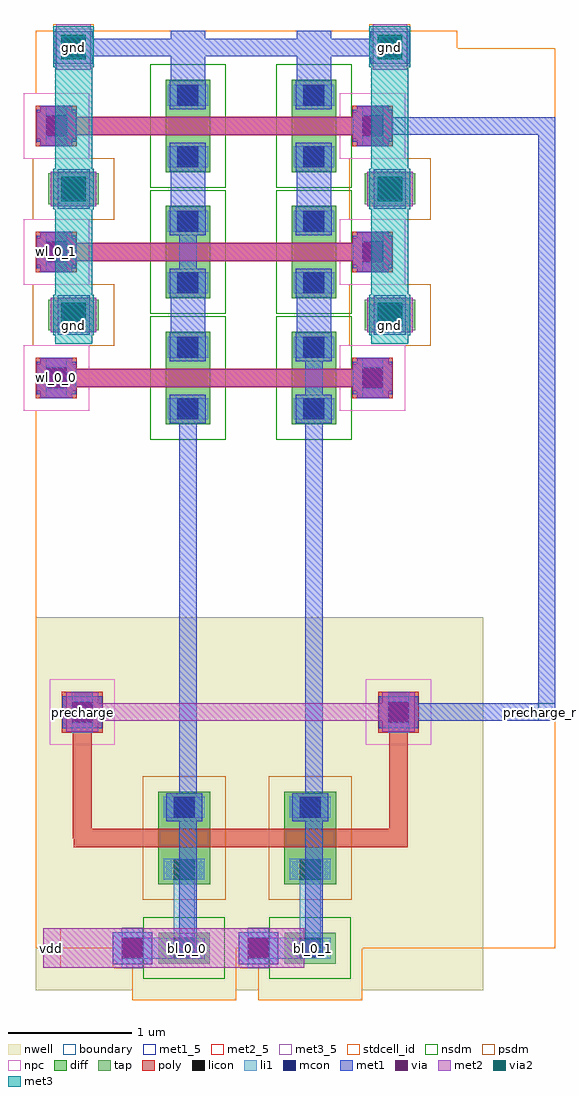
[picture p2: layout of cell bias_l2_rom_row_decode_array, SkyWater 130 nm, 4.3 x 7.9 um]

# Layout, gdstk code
from math import pi, radians
import gdstk
lib = gdstk.Library(unit=1e-6, precision=1e-09)
def R(c, l, rs):  # rectangles x0, y0, x1, y1
    for r in rs: c.add(gdstk.rectangle(r[:2], r[2:], *l))
def A(c, l, x, y, w, h, nx, ny, dx, dy):  # array of equal rectangles
    R(c, l, [(x+i*dx, y+j*dy, x+i*dx+w, y+j*dy+h) for i in range(nx) for j in range(ny)])
nwell = (64, 20)
diff = (65, 20)
tap = (65, 44)
poly = (66, 20)
licon = (66, 44)
li1 = (67, 20)
mcon = (67, 44)
met1_5 = (68, 5)
met1 = (68, 20)
via = (68, 44)
met2_5 = (69, 5)
met2 = (69, 20)
via2 = (69, 44)
met3_5 = (70, 5)
met3 = (70, 20)
stdcell_id = (81, 4)
nsdm = (93, 44)
psdm = (94, 20)
npc = (95, 20)
boundary = (235, 4)

bias_l2_contact_11 = lib.new_cell('bias_l2_contact_11')
R(bias_l2_contact_11, poly, [(0,0,0.33,0.33)])
R(bias_l2_contact_11, licon, [(0.08,0.08,0.25,0.25)])
R(bias_l2_contact_11, li1, [(0.08,0,0.25,0.33)])
R(bias_l2_contact_11, stdcell_id, [(-0.1,-0.1,0.43,0.43)])
R(bias_l2_contact_11, npc, [(-0.1,-0.1,0.43,0.43)])
R(bias_l2_contact_11, boundary, [(-0.1,-0.1,0.43,0.43)])

bias_l2_contact_12 = lib.new_cell('bias_l2_contact_12')
R(bias_l2_contact_12, li1, [(0.06,0,0.23,0.33)])
R(bias_l2_contact_12, mcon, [(0.06,0.08,0.23,0.25)])
R(bias_l2_contact_12, met1, [(0,0.05,0.29,0.28)])
R(bias_l2_contact_12, stdcell_id, [(0,0,0.29,0.33)])
R(bias_l2_contact_12, boundary, [(0,0,0.29,0.33)])

bias_l2_contact_13 = lib.new_cell('bias_l2_contact_13')
R(bias_l2_contact_13, met1, [(0,0.03,0.32,0.29)])
R(bias_l2_contact_13, via, [(0.085,0.085,0.235,0.235)])
R(bias_l2_contact_13, met2, [(0.03,0,0.29,0.32)])
R(bias_l2_contact_13, stdcell_id, [(0,0,0.32,0.32)])
R(bias_l2_contact_13, boundary, [(0,0,0.32,0.32)])

bias_l2_contact_16 = lib.new_cell('bias_l2_contact_16')
R(bias_l2_contact_16, tap, [(0,0,0.41,0.25)])
R(bias_l2_contact_16, licon, [(0.12,0.04,0.29,0.21)])
R(bias_l2_contact_16, li1, [(0.04,0.04,0.37,0.21)])
R(bias_l2_contact_16, stdcell_id, [(-0.125,-0.125,0.535,0.375)])
R(bias_l2_contact_16, psdm, [(-0.125,-0.125,0.535,0.375)])
R(bias_l2_contact_16, boundary, [(-0.125,-0.125,0.535,0.375)])

bias_l2_rom_poly_tap_1 = lib.new_cell('bias_l2_rom_poly_tap_1')
R(bias_l2_rom_poly_tap_1, li1, [(0.22,0.675,0.39,0.845)])
R(bias_l2_rom_poly_tap_1, met1, [(0.005,0.12,0.325,0.38)])
R(bias_l2_rom_poly_tap_1, met2_5, [(0.095,0.18,0.235,0.32)])
R(bias_l2_rom_poly_tap_1, met2, [(0.095,0.18,0.235,0.32)])
R(bias_l2_rom_poly_tap_1, stdcell_id, [(0,0,0.85,1.02)])
R(bias_l2_rom_poly_tap_1, boundary, [(0,0,0.85,1.02)])
bias_l2_rom_poly_tap_1.add(gdstk.Reference(bias_l2_contact_11, (0,0.085)))
bias_l2_rom_poly_tap_1.add(gdstk.Reference(bias_l2_contact_12, (0.02,0.085)))
bias_l2_rom_poly_tap_1.add(gdstk.Reference(bias_l2_contact_13, (0.005,0.09)))
bias_l2_rom_poly_tap_1.add(gdstk.Reference(bias_l2_contact_16, (0.1,0.635)))
bias_l2_rom_poly_tap_1.add(gdstk.Label('poly_tap', (0.165,0.25), layer=69, texttype=5))
bias_l2_rom_poly_tap_1.add(gdstk.Label('active_tap', (0.305,0.76), layer=67, texttype=5))

bias_l2_contact_8 = lib.new_cell('bias_l2_contact_8')
R(bias_l2_contact_8, diff, [(0,0.02,0.25,0.31)])
R(bias_l2_contact_8, licon, [(0.04,0.08,0.21,0.25)])
R(bias_l2_contact_8, li1, [(0.04,0,0.21,0.33)])
R(bias_l2_contact_8, stdcell_id, [(-0.125,-0.105,0.375,0.435)])
R(bias_l2_contact_8, nsdm, [(-0.125,-0.105,0.375,0.435)])
R(bias_l2_contact_8, boundary, [(-0.125,-0.105,0.375,0.435)])

bias_l2_contact_9 = lib.new_cell('bias_l2_contact_9')
R(bias_l2_contact_9, li1, [(0.03,0,0.2,0.33)])
R(bias_l2_contact_9, mcon, [(0.03,0.08,0.2,0.25)])
R(bias_l2_contact_9, met1, [(0,0.02,0.23,0.31)])
R(bias_l2_contact_9, stdcell_id, [(-0.095,-0.125,0.325,0.455)])
R(bias_l2_contact_9, nsdm, [(-0.095,-0.125,0.325,0.455)])
R(bias_l2_contact_9, boundary, [(-0.095,-0.125,0.325,0.455)])

bias_l2_nmos_m1_w0_360_s = lib.new_cell('bias_l2_nmos_m1_w0_360_sm1_dm1')
R(bias_l2_nmos_m1_w0_360_s, diff, [(0,0,0.75,0.36)])
R(bias_l2_nmos_m1_w0_360_s, poly, [(0.3,-0.13,0.45,0.49), (0.3,-0.13,0.45,0.49)])
R(bias_l2_nmos_m1_w0_360_s, met1_5, [(0.01,0.035,0.24,0.325), (0.51,0.035,0.74,0.325)])
R(bias_l2_nmos_m1_w0_360_s, met1, [(0.01,0.035,0.24,0.325), (0.51,0.035,0.74,0.325)])
R(bias_l2_nmos_m1_w0_360_s, stdcell_id, [(-0.125,-0.13,0.875,0.49)])
R(bias_l2_nmos_m1_w0_360_s, nsdm, [(-0.125,-0.125,0.875,0.485)])
R(bias_l2_nmos_m1_w0_360_s, boundary, [(-0.125,-0.13,0.875,0.49)])
bias_l2_nmos_m1_w0_360_s.add(gdstk.Reference(bias_l2_contact_8, (0,0.015)))
bias_l2_nmos_m1_w0_360_s.add(gdstk.Reference(bias_l2_contact_9, (0.01,0.015)))
bias_l2_nmos_m1_w0_360_s.add(gdstk.Reference(bias_l2_contact_8, (0.5,0.015)))
bias_l2_nmos_m1_w0_360_s.add(gdstk.Reference(bias_l2_contact_9, (0.51,0.015)))
bias_l2_nmos_m1_w0_360_s.add(gdstk.Label('G', (0.375,0.18), layer=66, texttype=5))
bias_l2_nmos_m1_w0_360_s.add(gdstk.Label('S', (0.125,0.18), layer=68, texttype=5))
bias_l2_nmos_m1_w0_360_s.add(gdstk.Label('D', (0.625,0.18), layer=68, texttype=5))

bias_l2_rom_base_one_cel = lib.new_cell('bias_l2_rom_base_one_cell')
R(bias_l2_rom_base_one_cel, poly, [(0,0.175,0.4,0.325), (0.4,0.175,1.02,0.325)])
R(bias_l2_rom_base_one_cel, met1_5, [(0.565,-0.115,0.855,0.115), (0.565,0.385,0.855,0.615)])
R(bias_l2_rom_base_one_cel, met1, [(0.565,-0.115,0.855,0.115), (0.565,0.385,0.855,0.615), (0.57,0.5,0.85,1.02)])
R(bias_l2_rom_base_one_cel, stdcell_id, [(0,0,1.02,1.02)])
R(bias_l2_rom_base_one_cel, boundary, [(0,0,1.02,1.02)])
bias_l2_rom_base_one_cel.add(gdstk.Reference(bias_l2_nmos_m1_w0_360_s, (0.89,-0.125), rotation=pi/2))
bias_l2_rom_base_one_cel.add(gdstk.Label('S', (0.71,0), layer=68, texttype=5))
bias_l2_rom_base_one_cel.add(gdstk.Label('D', (0.71,0.5), layer=68, texttype=5))
bias_l2_rom_base_one_cel.add(gdstk.Label('G', (0.71,0.25), layer=66, texttype=5))

bias_l2_rom_base_zero_ce = lib.new_cell('bias_l2_rom_base_zero_cell')
R(bias_l2_rom_base_zero_ce, poly, [(0,0.175,0.4,0.325), (0.4,0.175,1.02,0.325)])
R(bias_l2_rom_base_zero_ce, met1_5, [(0.565,-0.115,0.855,0.115), (0.565,0.385,0.855,0.615)])
R(bias_l2_rom_base_zero_ce, met1, [(0.565,-0.115,0.855,0.115), (0.64,0,0.78,0.5), (0.565,0.385,0.855,0.615), (0.57,0.5,0.85,1.02)])
R(bias_l2_rom_base_zero_ce, stdcell_id, [(0,0,1.02,1.02)])
R(bias_l2_rom_base_zero_ce, boundary, [(0,0,1.02,1.02)])
bias_l2_rom_base_zero_ce.add(gdstk.Reference(bias_l2_nmos_m1_w0_360_s, (0.89,-0.125), rotation=pi/2))
bias_l2_rom_base_zero_ce.add(gdstk.Label('S', (0.71,0), layer=68, texttype=5))
bias_l2_rom_base_zero_ce.add(gdstk.Label('D', (0.71,0.5), layer=68, texttype=5))
bias_l2_rom_base_zero_ce.add(gdstk.Label('G', (0.71,0.25), layer=66, texttype=5))

bias_l2_rom_poly_tap_2 = lib.new_cell('bias_l2_rom_poly_tap_2')
R(bias_l2_rom_poly_tap_2, met1, [(0.005,0.12,0.325,0.38)])
R(bias_l2_rom_poly_tap_2, met2_5, [(0.095,0.18,0.235,0.32)])
R(bias_l2_rom_poly_tap_2, met2, [(0.095,0.18,0.235,0.32)])
R(bias_l2_rom_poly_tap_2, stdcell_id, [(0,0,0.85,1.02)])
R(bias_l2_rom_poly_tap_2, boundary, [(0,0,0.85,1.02)])
bias_l2_rom_poly_tap_2.add(gdstk.Reference(bias_l2_contact_11, (0,0.085)))
bias_l2_rom_poly_tap_2.add(gdstk.Reference(bias_l2_contact_12, (0.02,0.085)))
bias_l2_rom_poly_tap_2.add(gdstk.Reference(bias_l2_contact_13, (0.005,0.09)))
bias_l2_rom_poly_tap_2.add(gdstk.Label('poly_tap', (0.165,0.25), layer=69, texttype=5))

bias_l2_rom_poly_tap_3 = lib.new_cell('bias_l2_rom_poly_tap_3')
R(bias_l2_rom_poly_tap_3, met1, [(0.005,0.12,0.325,0.38)])
R(bias_l2_rom_poly_tap_3, met2_5, [(0.095,0.18,0.235,0.32)])
R(bias_l2_rom_poly_tap_3, met2, [(0.095,0.18,0.235,0.32)])
R(bias_l2_rom_poly_tap_3, stdcell_id, [(0,0,0.85,1.02)])
R(bias_l2_rom_poly_tap_3, boundary, [(0,0,0.85,1.02)])
bias_l2_rom_poly_tap_3.add(gdstk.Reference(bias_l2_contact_11, (0,0.085)))
bias_l2_rom_poly_tap_3.add(gdstk.Reference(bias_l2_contact_12, (0.02,0.085)))
bias_l2_rom_poly_tap_3.add(gdstk.Reference(bias_l2_contact_13, (0.005,0.09)))
bias_l2_rom_poly_tap_3.add(gdstk.Label('poly_tap', (0.165,0.25), layer=69, texttype=5))

bias_l2_contact_10 = lib.new_cell('bias_l2_contact_10')
R(bias_l2_contact_10, nwell, [(-0.295,-0.255,0.545,0.585)])
R(bias_l2_contact_10, diff, [(0,0.02,0.25,0.31)])
R(bias_l2_contact_10, licon, [(0.04,0.08,0.21,0.25)])
R(bias_l2_contact_10, li1, [(0.04,0,0.21,0.33)])
R(bias_l2_contact_10, stdcell_id, [(-0.295,-0.255,0.545,0.585)])
R(bias_l2_contact_10, psdm, [(-0.125,-0.105,0.375,0.435)])
R(bias_l2_contact_10, boundary, [(-0.295,-0.255,0.545,0.585)])

bias_l2_contact_14 = lib.new_cell('bias_l2_contact_14')
R(bias_l2_contact_14, nwell, [(-0.305,-0.255,0.535,0.585)])
R(bias_l2_contact_14, li1, [(0.03,0,0.2,0.33)])
R(bias_l2_contact_14, mcon, [(0.03,0.08,0.2,0.25)])
R(bias_l2_contact_14, met1, [(0,0.02,0.23,0.31)])
R(bias_l2_contact_14, stdcell_id, [(-0.305,-0.255,0.535,0.585)])
R(bias_l2_contact_14, psdm, [(-0.095,-0.125,0.325,0.455)])
R(bias_l2_contact_14, boundary, [(-0.305,-0.255,0.535,0.585)])

bias_l2_pmos_m1_w0_420_s = lib.new_cell('bias_l2_pmos_m1_w0_420_sli_dm1')
R(bias_l2_pmos_m1_w0_420_s, nwell, [(-0.27,-0.27,1.02,0.69)])
R(bias_l2_pmos_m1_w0_420_s, diff, [(0,0,0.75,0.42)])
R(bias_l2_pmos_m1_w0_420_s, poly, [(0.3,-0.13,0.45,0.55), (0.3,-0.13,0.45,0.55)])
R(bias_l2_pmos_m1_w0_420_s, li1, [(0.04,0.045,0.21,0.375)])
R(bias_l2_pmos_m1_w0_420_s, met1_5, [(0.51,0.065,0.74,0.355)])
R(bias_l2_pmos_m1_w0_420_s, met1, [(0.51,0.065,0.74,0.355)])
R(bias_l2_pmos_m1_w0_420_s, stdcell_id, [(-0.27,-0.27,1.02,0.69)])
R(bias_l2_pmos_m1_w0_420_s, psdm, [(-0.125,-0.125,0.875,0.545)])
R(bias_l2_pmos_m1_w0_420_s, boundary, [(-0.27,-0.27,1.02,0.69)])
bias_l2_pmos_m1_w0_420_s.add(gdstk.Reference(bias_l2_contact_10, (0,0.045)))
bias_l2_pmos_m1_w0_420_s.add(gdstk.Reference(bias_l2_contact_10, (0.5,0.045)))
bias_l2_pmos_m1_w0_420_s.add(gdstk.Reference(bias_l2_contact_14, (0.51,0.045)))
bias_l2_pmos_m1_w0_420_s.add(gdstk.Label('G', (0.375,0.21), layer=66, texttype=5))
bias_l2_pmos_m1_w0_420_s.add(gdstk.Label('S', (0.125,0.21), layer=67, texttype=5))
bias_l2_pmos_m1_w0_420_s.add(gdstk.Label('D', (0.625,0.21), layer=68, texttype=5))

bias_l2_contact_15 = lib.new_cell('bias_l2_contact_15')
R(bias_l2_contact_15, nwell, [(-0.215,-0.295,0.625,0.545)])
R(bias_l2_contact_15, tap, [(0,0,0.41,0.25)])
R(bias_l2_contact_15, licon, [(0.12,0.04,0.29,0.21)])
R(bias_l2_contact_15, li1, [(0.04,0.04,0.37,0.21)])
R(bias_l2_contact_15, stdcell_id, [(-0.215,-0.295,0.625,0.545)])
R(bias_l2_contact_15, nsdm, [(-0.125,-0.125,0.535,0.375)])
R(bias_l2_contact_15, boundary, [(-0.215,-0.295,0.625,0.545)])

bias_l2_precharge_cell = lib.new_cell('bias_l2_precharge_cell')
R(bias_l2_precharge_cell, nwell, [(0,-0.945,1.02,0.68)])
R(bias_l2_precharge_cell, poly, [(0,0.175,0.34,0.325), (0.34,0.175,1.02,0.325)])
R(bias_l2_precharge_cell, li1, [(0.175,-0.725,0.345,-0.555), (0.26,-0.725,0.68,-0.555), (0.595,-0.725,0.765,-0.555), (0.595,-0.725,0.765,-0.555), (0.595,-0.64,0.765,0)])
R(bias_l2_precharge_cell, met1_5, [(0.535,0.385,0.825,0.615)])
R(bias_l2_precharge_cell, met1, [(0.535,0.385,0.825,0.615)])
R(bias_l2_precharge_cell, stdcell_id, [(0,0,1.02,1.02)])
R(bias_l2_precharge_cell, boundary, [(0,0,1.02,1.02)])
bias_l2_precharge_cell.add(gdstk.Reference(bias_l2_pmos_m1_w0_420_s, (0.89,-0.125), rotation=pi/2))
bias_l2_precharge_cell.add(gdstk.Reference(bias_l2_contact_15, (0.475,-0.765)))
bias_l2_precharge_cell.add(gdstk.Label('D', (0.68,0.5), layer=68, texttype=5))
bias_l2_precharge_cell.add(gdstk.Label('G', (0.68,0.25), layer=66, texttype=5))
bias_l2_precharge_cell.add(gdstk.Label('vdd', (0.26,-0.64), layer=67, texttype=5))

bias_l2_rom_precharge_ar = lib.new_cell('bias_l2_rom_precharge_array_0')
R(bias_l2_rom_precharge_ar, nwell, [(0,-0.98,3.62,2.04)])
R(bias_l2_rom_precharge_ar, poly, [(0.305,0.175,3.005,0.325), (2.215,0.175,3.01,0.325), (2.22,0.175,3.01,0.325), (0.3,0.25,0.45,1.2), (2.86,0.25,3.01,1.2)])
R(bias_l2_rom_precharge_ar, met1_5, [(1.13,0.43,1.27,0.57), (2.15,0.43,2.29,0.57)])
R(bias_l2_rom_precharge_ar, met1, [(0.62,-0.77,0.94,-0.51), (1.64,-0.77,1.96,-0.51), (1.13,0.43,1.27,0.57), (2.15,0.43,2.29,0.57)])
R(bias_l2_rom_precharge_ar, met2_5, [(0.06,-0.8,0.2,-0.48), (0.305,1.2,0.445,1.34), (2.865,1.2,3.005,1.34)])
R(bias_l2_rom_precharge_ar, met2, [(0.06,-0.8,0.2,-0.48), (0.13,-0.8,2.17,-0.48), (0.305,1.2,0.445,1.34), (0.305,1.2,0.445,1.34), (0.305,1.2,3.005,1.34), (2.865,1.2,3.005,1.34), (2.865,1.2,3.005,1.34)])
R(bias_l2_rom_precharge_ar, stdcell_id, [(0,0,3.62,2.04)])
R(bias_l2_rom_precharge_ar, boundary, [(0,0,3.62,2.04)])
bias_l2_rom_precharge_ar.add(gdstk.Reference(bias_l2_rom_poly_tap_3, (0.21,1.02)))
bias_l2_rom_precharge_ar.add(gdstk.Reference(bias_l2_rom_poly_tap_3, (2.77,1.02)))
bias_l2_rom_precharge_ar.add(gdstk.Reference(bias_l2_precharge_cell, (0.52,0)))
bias_l2_rom_precharge_ar.add(gdstk.Reference(bias_l2_precharge_cell, (1.54,0)))
bias_l2_rom_precharge_ar.add(gdstk.Reference(bias_l2_contact_12, (0.635,-0.805)))
bias_l2_rom_precharge_ar.add(gdstk.Reference(bias_l2_contact_13, (0.62,-0.8)))
bias_l2_rom_precharge_ar.add(gdstk.Reference(bias_l2_contact_12, (1.655,-0.805)))
bias_l2_rom_precharge_ar.add(gdstk.Reference(bias_l2_contact_13, (1.64,-0.8)))
bias_l2_rom_precharge_ar.add(gdstk.Label('upper right', (3.62,2.04), layer=64, texttype=20))
bias_l2_rom_precharge_ar.add(gdstk.Label('gate', (0.375,1.27), layer=69, texttype=5))
bias_l2_rom_precharge_ar.add(gdstk.Label('precharge_r', (2.935,1.27), layer=69, texttype=5))
bias_l2_rom_precharge_ar.add(gdstk.Label('pre_bl0_out', (1.2,0.5), layer=68, texttype=5))
bias_l2_rom_precharge_ar.add(gdstk.Label('pre_bl1_out', (2.22,0.5), layer=68, texttype=5))
bias_l2_rom_precharge_ar.add(gdstk.Label('vdd', (0.13,-0.64), layer=69, texttype=5))

bias_l2_contact_17 = lib.new_cell('bias_l2_contact_17')
R(bias_l2_contact_17, li1, [(0,0.06,0.33,0.23)])
R(bias_l2_contact_17, mcon, [(0.08,0.06,0.25,0.23)])
R(bias_l2_contact_17, met1, [(0.05,0,0.28,0.29)])
R(bias_l2_contact_17, stdcell_id, [(0,0,0.33,0.29)])
R(bias_l2_contact_17, boundary, [(0,0,0.33,0.29)])

bias_l2_contact_18 = lib.new_cell('bias_l2_contact_18')
R(bias_l2_contact_18, met1, [(0.03,0,0.29,0.32)])
R(bias_l2_contact_18, via, [(0.085,0.085,0.235,0.235)])
R(bias_l2_contact_18, met2, [(0,0.03,0.32,0.29)])
R(bias_l2_contact_18, stdcell_id, [(0,0,0.32,0.32)])
R(bias_l2_contact_18, boundary, [(0,0,0.32,0.32)])

bias_l2_contact_21 = lib.new_cell('bias_l2_contact_21')
R(bias_l2_contact_21, met2, [(0,0.025,0.37,0.305)])
R(bias_l2_contact_21, via2, [(0.085,0.065,0.285,0.265)])
R(bias_l2_contact_21, met3, [(0.02,0,0.35,0.33)])
R(bias_l2_contact_21, stdcell_id, [(0,0,0.37,0.33)])
R(bias_l2_contact_21, boundary, [(0,0,0.37,0.33)])

bias_l2_contact_22 = lib.new_cell('bias_l2_contact_22')
R(bias_l2_contact_22, met2, [(0.025,0,0.305,0.37)])
R(bias_l2_contact_22, via2, [(0.065,0.085,0.265,0.285)])
R(bias_l2_contact_22, met3, [(0,0.02,0.33,0.35)])
R(bias_l2_contact_22, stdcell_id, [(0,0,0.33,0.37)])
R(bias_l2_contact_22, boundary, [(0,0,0.33,0.37)])

bias_l2_rom_row_decode_a = lib.new_cell('bias_l2_rom_row_decode_array')
A(bias_l2_rom_row_decode_a, poly, 0.095, 4.54, 2.7, 0.15, 1, 3, 0, 1.02)
R(bias_l2_rom_row_decode_a, met1_5, [(1.16,-0.07,1.3,0.07), (2.18,-0.07,2.32,0.07), (4.065,1.84,4.205,1.98)])
A(bias_l2_rom_row_decode_a, met1, 0.04, 4.45, 0.255, 0.33, 1, 3, 0, 1.02)
A(bias_l2_rom_row_decode_a, met1, 2.6, 4.45, 0.255, 0.33, 1, 3, 0, 1.02)
R(bias_l2_rom_row_decode_a, met1, [(1.16,-0.07,1.3,0.07), (2.18,-0.07,2.32,0.07), (1.16,0.005,1.3,2.755), (2.18,0.005,2.32,2.755), (1.16,1.14,1.3,4.365), (2.18,1.14,2.32,4.365), (2.935,1.84,4.135,1.98), (4.065,1.84,4.205,1.98), (4.065,1.84,4.205,1.98), (4.065,1.91,4.205,6.655), (0.175,4.965,0.435,5.285), (2.735,4.965,2.995,5.285), (0.175,5.985,0.435,6.305), (2.735,5.985,2.995,6.305), (2.725,6.585,3.925,6.725), (3.925,6.585,4.135,6.725), (4.065,6.585,4.205,6.725), (0.305,7.22,1.16,7.36), (1.09,7.22,2.39,7.36), (2.32,7.22,2.865,7.36)])
R(bias_l2_rom_row_decode_a, met2_5, [(0.06,-0.16,0.2,0.16), (0.305,1.84,0.445,1.98), (0.095,4.545,0.235,4.685), (0.095,5.565,0.235,5.705)])
A(bias_l2_rom_row_decode_a, met2, 0.005, 4.51, 0.32, 0.215, 1, 3, 0, 1.02)
A(bias_l2_rom_row_decode_a, met2, 2.565, 4.51, 0.32, 0.215, 1, 3, 0, 1.02)
A(bias_l2_rom_row_decode_a, met2, 0.095, 4.545, 2.7, 0.14, 1, 3, 0, 1.02)
A(bias_l2_rom_row_decode_a, met2, 2.655, 4.545, 0.14, 0.14, 1, 3, 0, 1.02)
R(bias_l2_rom_row_decode_a, met2, [(0.06,-0.16,0.2,0.16), (0.305,1.84,0.445,1.98), (0.095,4.545,0.235,4.685), (0.095,4.545,0.235,4.685), (0.12,5.03,0.49,5.215), (2.68,5.03,3.05,5.215), (0.095,5.565,0.235,5.705), (0.095,5.565,0.235,5.705), (0.12,6.05,0.49,6.235), (2.68,6.05,3.05,6.235), (0.095,6.585,0.235,6.725), (0.165,7.17,0.445,7.415), (2.725,7.17,3.005,7.415)])
R(bias_l2_rom_row_decode_a, met3_5, [(0.155,4.89,0.455,5.19), (2.715,4.89,3.015,5.19), (0.155,7.14,0.455,7.44), (2.715,7.14,3.015,7.44)])
R(bias_l2_rom_row_decode_a, met3, [(0.155,4.89,0.455,7.44), (0.155,4.89,0.455,5.19), (2.715,4.89,3.015,7.44), (2.715,4.89,3.015,5.19), (0.155,7.14,0.455,7.44), (2.715,7.14,3.015,7.44)])
R(bias_l2_rom_row_decode_a, stdcell_id, [(0,0,4.205,7.285)])
R(bias_l2_rom_row_decode_a, boundary, [(0,0,4.205,7.285)])
bias_l2_rom_row_decode_a.add(gdstk.Reference(bias_l2_rom_poly_tap_1, (0,4.365)))
bias_l2_rom_row_decode_a.add(gdstk.Reference(bias_l2_rom_base_one_cel, (0.52,4.365)))
bias_l2_rom_row_decode_a.add(gdstk.Reference(bias_l2_rom_base_zero_ce, (1.54,4.365)))
bias_l2_rom_row_decode_a.add(gdstk.Reference(bias_l2_rom_poly_tap_1, (2.56,4.365)))
bias_l2_rom_row_decode_a.add(gdstk.Reference(bias_l2_rom_poly_tap_1, (0,5.385)))
bias_l2_rom_row_decode_a.add(gdstk.Reference(bias_l2_rom_base_zero_ce, (0.52,5.385)))
bias_l2_rom_row_decode_a.add(gdstk.Reference(bias_l2_rom_base_one_cel, (1.54,5.385)))
bias_l2_rom_row_decode_a.add(gdstk.Reference(bias_l2_rom_poly_tap_1, (2.56,5.385)))
bias_l2_rom_row_decode_a.add(gdstk.Reference(bias_l2_rom_poly_tap_2, (0,6.405)))
bias_l2_rom_row_decode_a.add(gdstk.Reference(bias_l2_rom_base_one_cel, (0.52,6.405)))
bias_l2_rom_row_decode_a.add(gdstk.Reference(bias_l2_rom_base_one_cel, (1.54,6.405)))
bias_l2_rom_row_decode_a.add(gdstk.Reference(bias_l2_rom_poly_tap_2, (2.56,6.405)))
bias_l2_rom_row_decode_a.add(gdstk.Reference(bias_l2_rom_precharge_ar, (0,0.64)))
bias_l2_rom_row_decode_a.add(gdstk.Reference(bias_l2_contact_17, (0.14,4.98)))
bias_l2_rom_row_decode_a.add(gdstk.Reference(bias_l2_contact_18, (0.145,4.965)))
bias_l2_rom_row_decode_a.add(gdstk.Reference(bias_l2_contact_21, (0.12,4.96)))
bias_l2_rom_row_decode_a.add(gdstk.Reference(bias_l2_contact_17, (0.14,6)))
bias_l2_rom_row_decode_a.add(gdstk.Reference(bias_l2_contact_18, (0.145,5.985)))
bias_l2_rom_row_decode_a.add(gdstk.Reference(bias_l2_contact_21, (0.12,5.98)))
bias_l2_rom_row_decode_a.add(gdstk.Reference(bias_l2_contact_17, (2.7,4.98)))
bias_l2_rom_row_decode_a.add(gdstk.Reference(bias_l2_contact_18, (2.705,4.965)))
bias_l2_rom_row_decode_a.add(gdstk.Reference(bias_l2_contact_21, (2.68,4.96)))
bias_l2_rom_row_decode_a.add(gdstk.Reference(bias_l2_contact_17, (2.7,6)))
bias_l2_rom_row_decode_a.add(gdstk.Reference(bias_l2_contact_18, (2.705,5.985)))
bias_l2_rom_row_decode_a.add(gdstk.Reference(bias_l2_contact_21, (2.68,5.98)))
bias_l2_rom_row_decode_a.add(gdstk.Reference(bias_l2_contact_13, (0.145,7.13)))
bias_l2_rom_row_decode_a.add(gdstk.Reference(bias_l2_contact_22, (0.14,7.11)))
bias_l2_rom_row_decode_a.add(gdstk.Reference(bias_l2_contact_13, (2.705,7.13)))
bias_l2_rom_row_decode_a.add(gdstk.Reference(bias_l2_contact_22, (2.7,7.11)))
bias_l2_rom_row_decode_a.add(gdstk.Reference(bias_l2_contact_13, (0.005,4.455)))
bias_l2_rom_row_decode_a.add(gdstk.Reference(bias_l2_contact_12, (0.02,4.45)))
bias_l2_rom_row_decode_a.add(gdstk.Reference(bias_l2_contact_11, (0,4.45)))
bias_l2_rom_row_decode_a.add(gdstk.Reference(bias_l2_contact_13, (2.565,4.455)))
bias_l2_rom_row_decode_a.add(gdstk.Reference(bias_l2_contact_12, (2.58,4.45)))
bias_l2_rom_row_decode_a.add(gdstk.Reference(bias_l2_contact_11, (2.56,4.45)))
bias_l2_rom_row_decode_a.add(gdstk.Reference(bias_l2_contact_13, (0.005,5.475)))
bias_l2_rom_row_decode_a.add(gdstk.Reference(bias_l2_contact_12, (0.02,5.47)))
bias_l2_rom_row_decode_a.add(gdstk.Reference(bias_l2_contact_11, (0,5.47)))
bias_l2_rom_row_decode_a.add(gdstk.Reference(bias_l2_contact_13, (2.565,5.475)))
bias_l2_rom_row_decode_a.add(gdstk.Reference(bias_l2_contact_12, (2.58,5.47)))
bias_l2_rom_row_decode_a.add(gdstk.Reference(bias_l2_contact_11, (2.56,5.47)))
bias_l2_rom_row_decode_a.add(gdstk.Reference(bias_l2_contact_13, (0.005,6.495)))
bias_l2_rom_row_decode_a.add(gdstk.Reference(bias_l2_contact_12, (0.02,6.49)))
bias_l2_rom_row_decode_a.add(gdstk.Reference(bias_l2_contact_11, (0,6.49)))
bias_l2_rom_row_decode_a.add(gdstk.Reference(bias_l2_contact_13, (2.565,6.495)))
bias_l2_rom_row_decode_a.add(gdstk.Reference(bias_l2_contact_12, (2.58,6.49)))
bias_l2_rom_row_decode_a.add(gdstk.Reference(bias_l2_contact_11, (2.56,6.49)))
bias_l2_rom_row_decode_a.add(gdstk.Label('precharge', (0.375,1.91), layer=69, texttype=5))
bias_l2_rom_row_decode_a.add(gdstk.Label('wl_0_0', (0.165,4.615), layer=69, texttype=5))
bias_l2_rom_row_decode_a.add(gdstk.Label('wl_0_1', (0.165,5.635), layer=69, texttype=5))
bias_l2_rom_row_decode_a.add(gdstk.Label('bl_0_0', (1.23,0), layer=68, texttype=5))
bias_l2_rom_row_decode_a.add(gdstk.Label('bl_0_1', (2.25,0), layer=68, texttype=5))
bias_l2_rom_row_decode_a.add(gdstk.Label('precharge_r', (4.135,1.91), layer=68, texttype=5))
bias_l2_rom_row_decode_a.add(gdstk.Label('gnd', (2.865,7.29), layer=70, texttype=5))
bias_l2_rom_row_decode_a.add(gdstk.Label('gnd', (0.305,7.29), layer=70, texttype=5))
bias_l2_rom_row_decode_a.add(gdstk.Label('gnd', (2.865,5.04), layer=70, texttype=5))
bias_l2_rom_row_decode_a.add(gdstk.Label('gnd', (0.305,5.04), layer=70, texttype=5))
bias_l2_rom_row_decode_a.add(gdstk.Label('vdd', (0.13,0), layer=69, texttype=5))

lib.write_gds('bias_l2_rom_row_decode_array.gds')
